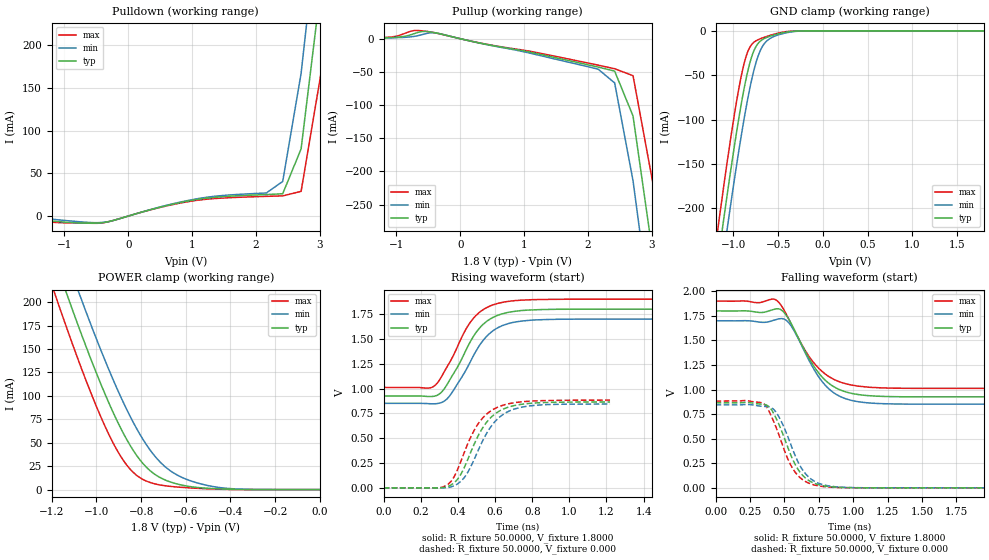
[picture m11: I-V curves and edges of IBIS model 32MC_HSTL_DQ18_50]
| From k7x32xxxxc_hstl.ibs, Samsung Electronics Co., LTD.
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|   Model 32MC_HSTL_DQ18_50
[Model]   32MC_HSTL_DQ18_50
Model_type   I/O
Polarity   Non-Inverting
Enable   Active-High
Vinl = 0.7000V
Vinh = 1.1000V
Vmeas = 0.9000V
Cref =  0.000F
Rref =50.0000
Vref = 0.9000V
C_comp   0.8590pF   0.8410pF   0.8720pF
[Model Spec]
|   Typ   Min   Max
Vinl 0.70   0.65   0.75 |VREF - 0.2V AC spec for timing simulation
Vinh 1.10   1.05   1.15 |VREF + 0.2V AC spec for timing simulation
|[Model Spec]
|   Typ   Min   Max
|Vinl 0.80   0.75   0.85 |VREF - 0.1V DC spec for noise measurement
|Vinh 1.00   0.95   1.05 |VREF + 0.1V DC spec for noise measurement
Vmeas  0.9000V   0.8500V   0.9500V |VDDQ/2
[Temperature Range]   55.0000   0.1100k   0.000
[Voltage Range]   1.8000V   1.7000V   1.9000V
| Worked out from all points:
|   slope of the pulldown table from 0 to 0.27 V, typ, clamps not added: 46 ohm
|   slope of the pullup table from 0 to 0.27 V, typ, clamps not added: 46.6 ohm
|   GND clamp passes 1 mA (typ) near -0.38 V on its own axis
|   POWER clamp passes 1 mA (typ) near -0.47 V on its own axis
|   rising waveform, R_fixture 50.0000, V_fixture 1.8000: 20-80 % time 164ps typ, 168ps min, 158ps max; typ from 0.925 V to 1.8 V
|   rising waveform, R_fixture 50.0000, V_fixture 0.000: 20-80 % time 143ps typ, 147ps min, 139ps max; typ from 0 V to 0.865 V
|   falling waveform, R_fixture 50.0000, V_fixture 1.8000: 20-80 % time 227ps typ, 216ps min, 241ps max; typ from 1.8 V to 0.925 V
|   falling waveform, R_fixture 50.0000, V_fixture 0.000: 20-80 % time 161ps typ, 162ps min, 157ps max; typ from 0.865 V to 0 V
[Pulldown]
| voltage   I(typ)   I(min/slow/weak)   I(max/fast/strong)
-1.8V     -2.2mA     -1.3mA     -3.7mA
-885mV    -7.74mA    -5.9mA     -8.08mA
-392mV    -7.678mA   -7.373mA   -7.894mA
445mV     9.387mA    9.617mA    9.122mA
983mV     18.28mA    18.99mA    17.44mA
1.378V    22.16mA    23.39mA    20.65mA
2.161V    25.17mA    27.03mA    23.09mA
2.418V    26.15mA    40.57mA    23.64mA
2.706V    78.71mA    167.3mA    28.94mA
3.028V    276.3mA    383.7mA    172mA
3.388V    541.1mA    651.3mA    431.6mA
3.6V      704.1mA    814.4mA    594.5mA
[Pullup]
| voltage   I(typ)   I(min/slow/weak)   I(max/fast/strong)
-1.8V     600uA      500uA      600uA
-1.084V   1.7mA      1.2mA      2.5mA
-723mV    7.55mA     3.45mA     12.31mA
-590mV    10.9mA     6.32mA     11.79mA
-392mV    8.922mA    8.742mA    8.788mA
316mV     -6.72mA    -6.961mA   -6.507mA
2.161V    -42.75mA   -45.99mA   -39.87mA
2.418V    -48.82mA   -66.63mA   -45.25mA
2.706V    -116.5mA   -214mA     -55.73mA
3.028V    -333.8mA   -446.9mA   -223.6mA
3.388V    -612.5mA   -728.9mA   -498.3mA
3.6V      -782.8mA   -899.3mA   -667.9mA
[GND_clamp]
| voltage   I(typ)   I(min/slow/weak)   I(max/fast/strong)
-1.8V     -752.4mA   -787mA     -719.7mA
-1.171V   -257.8mA   -296.3mA   -220.7mA
-1.128V   -226.3mA   -264.8mA   -189.2mA
-1.107V   -211.1mA   -249.6mA   -174mA
-1.066V   -181.9mA   -220.4mA   -145.1mA
-970mV    -117.3mA   -154.8mA   -82.45mA
-900mV    -75.38mA   -110.6mA   -45.01mA
-834mV    -43.05mA   -73.43mA   -22.04mA
-744mV    -17.03mA   -34.53mA   -11.03mA
-614mV    -6.926mA   -10.29mA   -5.892mA
-342mV    -623.3uA   -1.089mA   -287.3uA
1.8V      211.5nA    3.564uA    15nA
[POWER_clamp]
| voltage   I(typ)   I(min/slow/weak)   I(max/fast/strong)
-1.8V     703.3mA    736.2mA    671.9mA
-1.186V   245.2mA    282.1mA    208.9mA
-1.125V   203.7mA    240.8mA    167.2mA
-1.068V   166.3mA    203.4mA    129.9mA
-961mV    101.7mA    137.6mA    67.31mA
-912mV    75.62mA    110mA      43.88mA
-865mV    53.72mA    85.8mA     26.38mA
-778mV    24.27mA    48.5mA     9.249mA
-687mV    9.748mA    23.31mA    3.938mA
-596mV    3.825mA    10.91mA    2.045mA
-455mV    846.1uA    2.416mA    438.3uA
0V        211.5nA    954nA      17.71nA
[Ramp]
| variable   typ   min(slow/weak)   max(fast/strong)
dV/dt_r   0.5190/0.1429n   0.5066/0.1468n   0.5299/0.1387n
dV/dt_f   0.5249/0.2266n   0.5095/0.2160n   0.5334/0.2403n
R_load = 50.0000
[Rising Waveform]
R_fixture = 50.0000
V_fixture = 1.8000
V_fixture_min = 1.7000
V_fixture_max = 1.9000
L_fixture = 0.000H
C_fixture = 0.000F
| time   V(typ)   V(min)   V(max)
0s        925.1mV    850.9mV    1.011V
249ps     919.2mV    847mV      1.006V
285ps     929.7mV    847.9mV    1.047V
325ps     993.5mV    871.7mV    1.164V
443ps     1.385V     1.185V     1.597V
496ps     1.56V      1.372V     1.733V
581ps     1.708V     1.57V      1.837V
691ps     1.773V     1.663V     1.882V
1.033ns   1.799V     1.699V     1.899V
3.999ns   1.8V       1.7V       1.9V
[Rising Waveform]
R_fixture = 50.0000
V_fixture = 0.000
V_fixture_min = 0.000
V_fixture_max = 0.000
L_fixture = 0.000H
C_fixture = 0.000F
| time   V(typ)   V(min)   V(max)
0s        3.975uV    25.42uV    0V
299ps     484.5uV    267.7uV    1.801mV
368ps     35.96mV    12.97mV    77.96mV
403ps     99.56mV    46.83mV    206.1mV
438ps     220.8mV    113.4mV    374.5mV
501ps     494mV      343.1mV    622mV
564ps     681.8mV    578mV      757.1mV
627ps     777.2mV    716.5mV    822mV
794ps     851.6mV    826.7mV    873.3mV
1.219ns   864.8mV    844.1mV    883.1mV
[Falling Waveform]
R_fixture = 50.0000
V_fixture = 1.8000
V_fixture_min = 1.7000
V_fixture_max = 1.9000
L_fixture = 0.000H
C_fixture = 0.000F
| time   V(typ)   V(min)   V(max)
0s        1.8V       1.7V       1.9V
315ps     1.785V     1.687V     1.884V
422ps     1.815V     1.705V     1.92V
508ps     1.766V     1.71V      1.782V
563ps     1.635V     1.616V     1.628V
637ps     1.425V     1.415V     1.431V
734ps     1.196V     1.161V     1.239V
846ps     1.04V      980mV      1.114V
994ps     959.5mV    887.5mV    1.044V
3.999ns   925.1mV    850.9mV    1.011V
[Falling Waveform]
R_fixture = 50.0000
V_fixture = 0.000
V_fixture_min = 0.000
V_fixture_max = 0.000
L_fixture = 0.000H
C_fixture = 0.000F
| time   V(typ)   V(min)   V(max)
0s        865mV      844.3mV    883.2mV
339ps     850.7mV    829.8mV    863.5mV
375ps     838.7mV    826.3mV    813.7mV
416ps     772.5mV    805.2mV    694.6mV
484ps     564.8mV    656.3mV    444mV
571ps     257.4mV    352.5mV    173.5mV
653ps     99.78mV    143.9mV    64.6mV
757ps     28.74mV    42.51mV    18.03mV
1.059ns   693.2uV    1.224mV    353.4uV
3.999ns   1.342uV    22.57uV    -2.033uV
